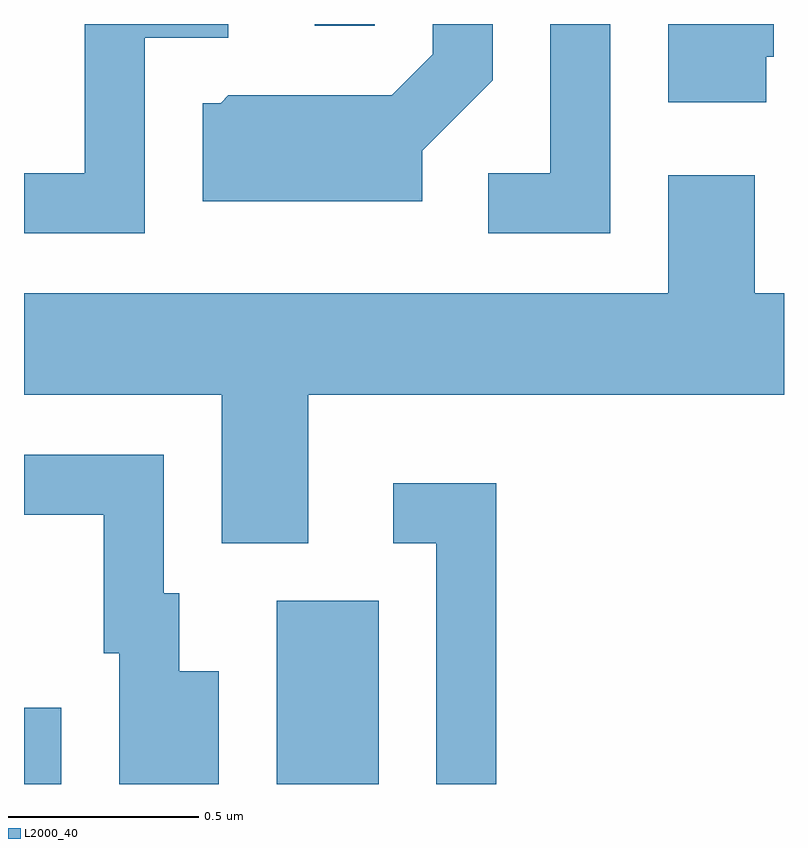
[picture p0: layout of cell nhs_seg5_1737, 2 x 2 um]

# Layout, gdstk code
import gdstk
lib = gdstk.Library(unit=1e-6, precision=1e-09)
def R(c, l, rs):  # rectangles x0, y0, x1, y1
    for r in rs: c.add(gdstk.rectangle(r[:2], r[2:], *l))
def P(c, l, *ps):  # polygons
    for p in ps: c.add(gdstk.Polygon(p, *l))
L2000_40 = (2000, 40)

nhs_seg5_1737 = lib.new_cell('nhs_seg5_1737')
R(nhs_seg5_1737, L2000_40, [(197.611,1489.072,197.709,1489.273), (198.276,1489.072,198.544,1489.554), (198.376,1491.068,198.534,1491.072)])
P(nhs_seg5_1737, L2000_40, [(199.154,1491.072),(198.996,1491.072),(198.996,1490.679),(198.833,1490.679),(198.833,1490.521),(199.154,1490.521)],
  [(197.929,1491.036),(198.149,1491.036),(198.149,1491.072),(197.771,1491.072),(197.771,1490.679),(197.611,1490.679),(197.611,1490.521),(197.929,1490.521)],
  [(199.564,1490.986),(199.584,1490.986),(199.584,1491.072),(199.306,1491.072),(199.306,1490.866),(199.564,1490.866)],
  [(198.659,1490.739),(198.844,1490.924),(198.844,1491.072),(198.686,1491.072),(198.686,1490.992),(198.579,1490.884),(198.149,1490.884),(198.129,1490.864),(198.081,1490.864),(198.081,1490.606),(198.659,1490.606)],
  [(198.359,1490.096),(199.611,1490.096),(199.611,1490.364),(199.534,1490.364),(199.534,1490.674),(199.306,1490.674),(199.306,1490.364),(197.611,1490.364),(197.611,1490.096),(198.131,1490.096),(198.131,1489.706),(198.359,1489.706)],
  [(198.124,1489.369),(198.019,1489.369),(198.019,1489.574),(197.979,1489.574),(197.979,1489.939),(197.611,1489.939),(197.611,1489.781),(197.821,1489.781),(197.821,1489.416),(197.861,1489.416),(197.861,1489.072),(198.124,1489.072)],
  [(198.854,1489.864),(198.583,1489.864),(198.583,1489.706),(198.696,1489.706),(198.696,1489.072),(198.854,1489.072)])

lib.write_gds('nhs_seg5_1737.gds')
